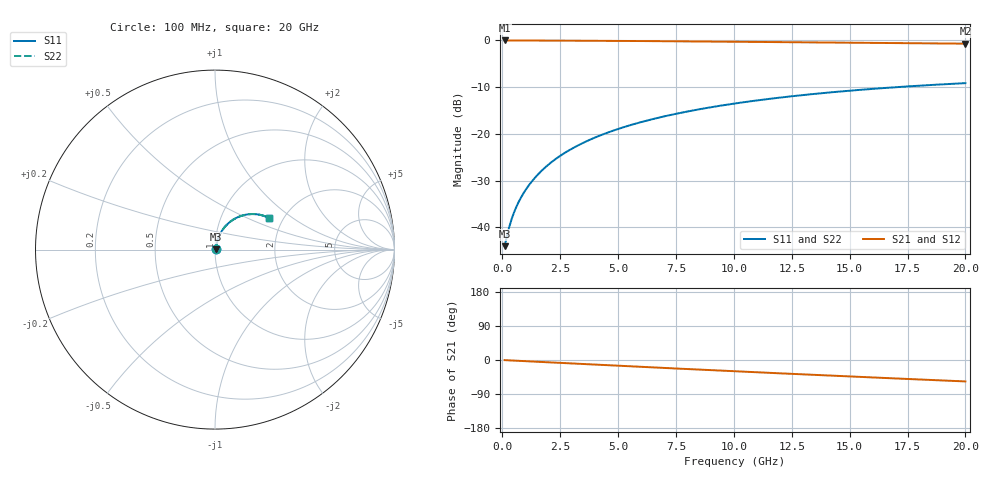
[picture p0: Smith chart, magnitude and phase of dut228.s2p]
! Touchstone file exported from HFSS 2026.1.0
!  File:  C:/ffzhzh/LocalFiles/Ansys_Project_Files/temp_train_BSMRDL_228_1782988183_45328.aedt
!  Generated:  06:31:11 PM Jul  2, 2026
!  Design:  BSMRDL
!  Project:  temp_train_BSMRDL_228_1782988183_45328
! Variables:
!  h_bsmrdl = 3.15um
!  h_ox = 20um
!  h_rdl = 5um
!  h_sub = 80um
!  h_tmrdl = 5um
!  h_tsv = 80um
!  h_via = 3um
!  l_bsmrdl = 947.41um
!  l_sub = 1347.41um
!  l_tmrdl = 200um
!  m_sub = 200um
!  pitch = 32.64um
!  r_tsv = 6um
!  s_tmrdl = 10um
!  w_bsmrdl = 19.42um
!  w_sub = 500um
!  w_tmrdl = 12um
!  x_tsv_center1 = 206um
!  x_tsv_center2 = 1172.83um
!  x_tsv_center3 = 1384.83um
!  x_tsv_center4 = 2351.66um
!  x_tsv_center5 = 2563.66um
!  x_tsv_center6 = 3530.49um
# GHz S MA R 50.000000
! Terminal data exported
! Port[1] = BSM_RDL1_1_T1
! Port[2] = BSM_RDL1_1_T2
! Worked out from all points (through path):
!   200 points, 100 MHz to 20 GHz, reference 50 ohm
!   highest |S21| = -0.05 dB at 100 MHz (marker M1); lowest = -0.7 dB at 20 GHz (marker M2)
!   group delay of S21, straight-line fit = 7.85 ps
!   lowest |S11| = -44.0 dB at 100 MHz (marker M3), VSWR 1.01, Z = 50.6 + j0.276 ohm
!   |S11| at or under -10 dB: start of sweep to 17.13 GHz
!   |S22| runs from -44.0 to -9.2 dB; largest |S21 - S12| = 4.9e-14
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0.1  0.006286 25.8  0.9944 -0.3  0.9944 -0.3  0.006286 25.8
! Gamma 0 0 0 0
! Port Impedance 50 0 50 0
0.3  0.01007 50.9  0.9937 -1.0  0.9937 -1.0  0.01007 50.9
0.4  0.01218 56.4  0.9934 -1.3  0.9934 -1.3  0.01218 56.4
0.5  0.0143 60.2  0.9931 -1.6  0.9931 -1.6  0.0143 60.2
0.6  0.01641 63.0  0.9929 -1.9  0.9929 -1.9  0.01641 63.0
0.8  0.02065 66.9  0.9925 -2.5  0.9925 -2.5  0.02065 66.9
1  0.02494 69.5  0.9922 -3.1  0.9922 -3.1  0.02494 69.5
1.2  0.02929 71.2  0.992 -3.7  0.992 -3.7  0.02929 71.2
1.4  0.03367 72.4  0.9917 -4.3  0.9917 -4.3  0.03367 72.4
1.7  0.0403 73.5  0.9913 -5.2  0.9913 -5.2  0.04029 73.5
2.2  0.0514 74.1  0.9905 -6.7  0.9905 -6.7  0.0514 74.1
2.8  0.06472 73.9  0.9894 -8.5  0.9894 -8.5  0.06472 73.9
3.5  0.08016 72.9  0.9878 -10.6  0.9878 -10.6  0.08015 72.9
4.2  0.09539 71.5  0.9859 -12.7  0.9859 -12.7  0.09538 71.6
5  0.1125 69.7  0.9835 -15.1  0.9835 -15.1  0.1125 69.7
5.9  0.1313 67.5  0.9804 -17.8  0.9804 -17.8  0.1313 67.5
6.8  0.1496 65.1  0.977 -20.4  0.977 -20.4  0.1496 65.1
8.3  0.1788 61.1  0.9709 -24.7  0.9709 -24.7  0.1788 61.1
10.1  0.2117 56.3  0.9629 -29.9  0.9629 -29.9  0.2117 56.3
13.4  0.2656 47.5  0.9477 -39.0  0.9477 -39.0  0.2655 47.5
16.7  0.311 38.9  0.9327 -47.9  0.9327 -47.9  0.3109 39.0
20  0.3477 30.6  0.9191 -56.6  0.9191 -56.6  0.3476 30.7
